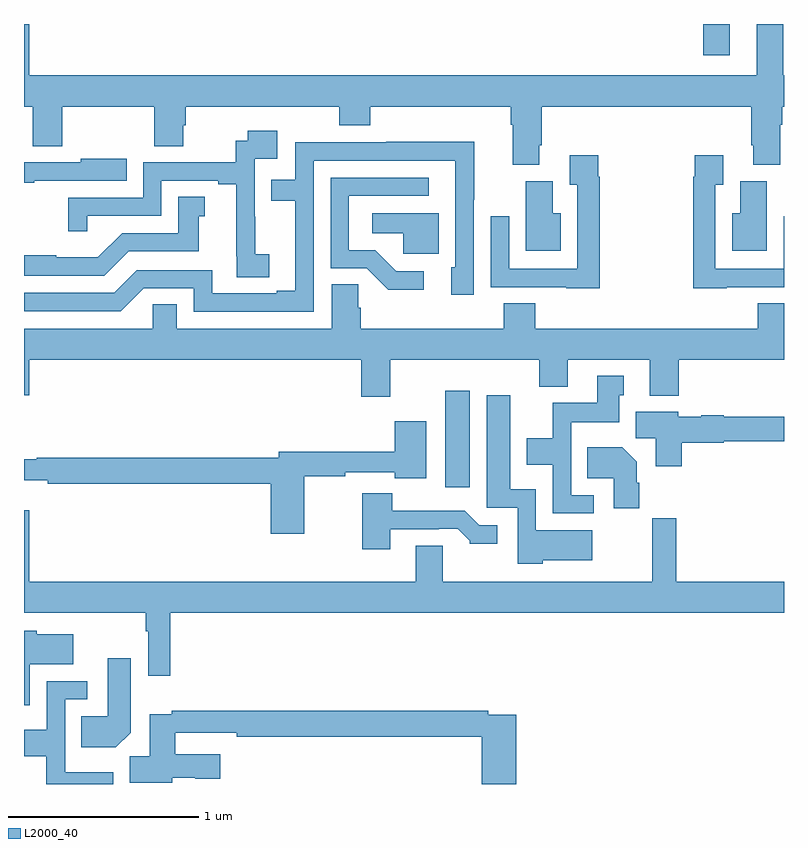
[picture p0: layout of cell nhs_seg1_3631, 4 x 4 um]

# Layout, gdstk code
import gdstk
lib = gdstk.Library(unit=1e-6, precision=1e-09)
def R(c, l, rs):  # rectangles x0, y0, x1, y1
    for r in rs: c.add(gdstk.rectangle(r[:2], r[2:], *l))
def P(c, l, *ps):  # polygons
    for p in ps: c.add(gdstk.Polygon(p, *l))
L2000_40 = (2000, 40)

nhs_seg1_3631 = lib.new_cell('nhs_seg1_3631')
R(nhs_seg1_3631, L2000_40, [(311.216,517.761,311.347,518.269), (312.575,520.035,312.715,520.199)])
P(nhs_seg1_3631, L2000_40, [(309.028,520.199),(309,520.199),(309,519.764),(309.047,519.764),(309.047,519.556),(309.2,519.556),(309.2,519.764),(309.686,519.764),(309.686,519.556),(309.838,519.556),(309.838,519.666),(309.851,519.666),(309.851,519.764),(310.658,519.764),(310.658,519.665),(310.823,519.665),(310.823,519.764),(311.561,519.764),(311.561,519.668),(311.573,519.668),(311.573,519.457),(311.713,519.457),(311.713,519.562),(311.726,519.562),(311.726,519.764),(312.827,519.764),(312.827,519.562),(312.839,519.562),(312.839,519.457),(312.979,519.457),(312.979,519.668),(312.992,519.668),(312.992,519.764),(313,519.764),(313,519.928),(312.997,519.928),(312.997,520.199),(312.857,520.199),(312.857,519.928),(309.028,519.928)],
  [(310.291,518.988),(310.217,518.988),(310.217,519.185),(310.215,519.185),(310.215,519.489),(310.333,519.489),(310.333,519.637),(310.177,519.637),(310.177,519.585),(310.114,519.585),(310.114,519.471),(309.627,519.471),(309.627,519.285),(309.232,519.285),(309.232,519.108),(309.333,519.108),(309.333,519.189),(309.723,519.189),(309.723,519.375),(310.022,519.375),(310.022,519.355),(310.118,519.355),(310.118,518.977),(310.12,518.977),(310.12,518.866),(310.291,518.866)],
  [(310.524,519.48),(311.271,519.48),(311.271,518.919),(311.249,518.919),(311.249,518.775),(311.367,518.775),(311.367,519.274),(311.369,519.274),(311.369,519.578),(310.906,519.578),(310.906,519.576),(310.428,519.576),(310.428,519.378),(310.3,519.378),(310.3,519.27),(310.427,519.27),(310.427,518.796),(310.331,518.796),(310.331,518.781),(309.99,518.781),(309.99,518.904),(309.594,518.904),(309.474,518.784),(309,518.784),(309,518.688),(309.51,518.688),(309.63,518.808),(309.894,518.808),(309.894,518.685),(310.524,518.685)],
  [(312.699,518.814),(313,518.814),(313,519.187),(312.999,519.187),(312.999,518.91),(312.639,518.91),(312.639,519.352),(312.679,519.352),(312.679,519.508),(312.531,519.508),(312.531,519.395),(312.523,519.395),(312.523,518.807),(312.699,518.807)],
  [(312.029,519.395),(312.022,519.395),(312.022,519.508),(311.873,519.508),(311.873,519.352),(311.913,519.352),(311.913,518.91),(311.553,518.91),(311.553,519.187),(311.457,519.187),(311.457,518.814),(311.853,518.814),(311.853,518.807),(312.029,518.807)],
  [(309.055,519.375),(309.542,519.375),(309.542,519.49),(309.299,519.49),(309.299,519.471),(309,519.471),(309,519.363),(309.055,519.363)],
  [(311.104,518.898),(310.959,518.898),(310.848,519.009),(310.71,519.009),(310.71,519.294),(311.131,519.294),(311.131,519.39),(310.614,519.39),(310.614,518.913),(310.803,518.913),(310.916,518.801),(311.104,518.801)],
  [(312.91,519.371),(312.77,519.371),(312.77,519.202),(312.728,519.202),(312.728,519.005),(312.91,519.005)],
  [(311.824,519.202),(311.782,519.202),(311.782,519.371),(311.642,519.371),(311.642,519.005),(311.824,519.005)],
  [(309.552,519.003),(309.919,519.003),(309.919,519.187),(309.952,519.187),(309.952,519.29),(309.812,519.29),(309.812,519.099),(309.516,519.099),(309.388,518.971),(309.17,518.971),(309.17,518.983),(309,518.983),(309,518.874),(309.423,518.874)],
  [(311.182,519.202),(310.833,519.202),(310.833,519.098),(310.995,519.098),(310.995,518.991),(311.182,518.991)],
  [(310.927,518.432),(311.711,518.432),(311.711,518.291),(311.863,518.291),(311.863,518.432),(312.293,518.432),(312.293,518.243),(312.446,518.243),(312.446,518.432),(313,518.432),(313,518.729),(312.863,518.729),(312.863,518.596),(311.69,518.596),(311.69,518.729),(311.525,518.729),(311.525,518.596),(310.772,518.596),(310.772,518.705),(310.758,518.705),(310.758,518.828),(310.619,518.828),(310.619,518.596),(309.805,518.596),(309.805,518.723),(309.678,518.723),(309.678,518.596),(309,518.596),(309,518.244),(309.028,518.244),(309.028,518.432),(310.775,518.432),(310.775,518.238),(310.927,518.238)],
  [(311.998,517.719),(311.88,517.719),(311.88,518.102),(312.133,518.102),(312.133,518.244),(312.157,518.244),(312.157,518.347),(312.017,518.347),(312.017,518.206),(311.782,518.206),(311.782,518.02),(311.645,518.02),(311.645,517.88),(311.784,517.88),(311.784,517.623),(311.998,517.623)],
  [(311.73,517.376),(311.992,517.376),(311.992,517.534),(311.694,517.534),(311.694,517.75),(311.56,517.75),(311.56,518.245),(311.435,518.245),(311.435,517.653),(311.598,517.653),(311.598,517.358),(311.73,517.358)],
  [(312.461,517.994),(312.684,517.994),(312.684,518.002),(313,518.002),(313,518.131),(312.684,518.131),(312.684,518.139),(312.564,518.139),(312.564,518.131),(312.444,518.131),(312.444,518.158),(312.221,518.158),(312.221,518.02),(312.326,518.02),(312.326,517.871),(312.461,517.871)],
  [(310.476,517.819),(310.691,517.819),(310.691,517.839),(310.952,517.839),(310.952,517.808),(311.116,517.808),(311.116,518.107),(310.952,518.107),(310.952,517.948),(310.34,517.948),(310.34,517.916),(309.068,517.916),(309.068,517.909),(309,517.909),(309,517.799),(309.124,517.799),(309.124,517.78),(310.298,517.78),(310.298,517.515),(310.476,517.515)],
  [(312.239,517.784),(312.226,517.784),(312.226,517.894),(312.148,517.972),(311.965,517.972),(311.965,517.808),(312.104,517.808),(312.104,517.65),(312.239,517.65)],
  [(310.927,517.539),(311.183,517.539),(311.183,517.542),(311.282,517.542),(311.346,517.478),(311.346,517.463),(311.491,517.463),(311.491,517.56),(311.397,517.56),(311.321,517.636),(310.939,517.636),(310.939,517.729),(310.78,517.729),(310.78,517.434),(310.927,517.434)],
  [(309.77,517.1),(313,517.1),(313,517.264),(312.434,517.264),(312.434,517.597),(312.306,517.597),(312.306,517.264),(311.203,517.264),(311.203,517.454),(311.063,517.454),(311.063,517.264),(309.028,517.264),(309.028,517.639),(309,517.639),(309,517.1),(309.642,517.1),(309.642,517.004),(309.654,517.004),(309.654,516.768),(309.77,516.768)],
  [(309.03,516.83),(309.259,516.83),(309.259,516.988),(309.066,516.988),(309.066,517.006),(309,517.006),(309,516.614),(309.03,516.614)],
  [(309.562,516.47),(309.562,516.862),(309.44,516.862),(309.44,516.556),(309.301,516.556),(309.301,516.392),(309.484,516.392)],
  [(309.469,516.262),(309.216,516.262),(309.216,516.645),(309.334,516.645),(309.334,516.741),(309.12,516.741),(309.12,516.484),(309,516.484),(309,516.344),(309.118,516.344),(309.118,516.199),(309.469,516.199)],
  [(311.591,516.564),(311.444,516.564),(311.444,516.584),(309.778,516.584),(309.778,516.566),(309.662,516.566),(309.662,516.344),(309.557,516.344),(309.557,516.206),(309.78,516.206),(309.78,516.233),(309.9,516.233),(309.9,516.226),(310.033,516.226),(310.033,516.355),(309.797,516.355),(309.797,516.468),(310.12,516.468),(310.12,516.448),(311.408,516.448),(311.408,516.199),(311.591,516.199)])

lib.write_gds('nhs_seg1_3631.gds')
